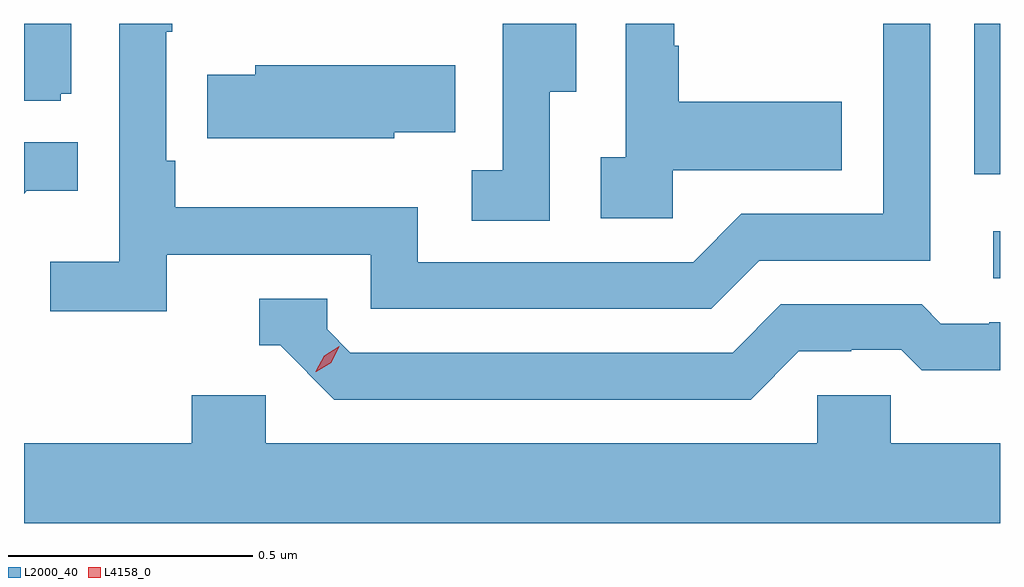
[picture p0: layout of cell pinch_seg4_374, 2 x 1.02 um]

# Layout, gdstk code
import gdstk
lib = gdstk.Library(unit=1e-6, precision=1e-09)
def R(c, l, rs):  # rectangles x0, y0, x1, y1
    for r in rs: c.add(gdstk.rectangle(r[:2], r[2:], *l))
def P(c, l, *ps):  # polygons
    for p in ps: c.add(gdstk.Polygon(p, *l))
L2000_40 = (2000, 40)
L4158_0 = (4158, 0)

pinch_seg4_374 = lib.new_cell('pinch_seg4_374')
R(pinch_seg4_374, L2000_40, [(972.141,799.986,972.155,800.082), (972.102,800.199,972.155,800.507)])
P(pinch_seg4_374, L2000_40, [(970.448,800.034),(970.866,800.034),(970.866,799.923),(971.563,799.923),(971.662,800.022),(972.012,800.022),(972.012,800.507),(971.916,800.507),(971.916,800.118),(971.625,800.118),(971.526,800.019),(970.962,800.019),(970.962,800.131),(970.465,800.131),(970.465,800.227),(970.446,800.227),(970.446,800.491),(970.459,800.491),(970.459,800.507),(970.35,800.507),(970.35,800.02),(970.209,800.02),(970.209,799.918),(970.448,799.918)],
  [(971.484,800.207),(971.831,800.207),(971.831,800.347),(971.497,800.347),(971.497,800.462),(971.487,800.462),(971.487,800.507),(971.388,800.507),(971.388,800.234),(971.337,800.234),(971.337,800.109),(971.484,800.109)],
  [(971.232,800.368),(971.287,800.368),(971.287,800.507),(971.136,800.507),(971.136,800.207),(971.073,800.207),(971.073,800.104),(971.232,800.104)],
  [(970.23,800.364),(970.252,800.364),(970.252,800.507),(970.155,800.507),(970.155,800.349),(970.23,800.349)],
  [(970.914,800.285),(971.039,800.285),(971.039,800.422),(970.629,800.422),(970.629,800.403),(970.531,800.403),(970.531,800.273),(970.914,800.273)],
  [(970.161,800.165),(970.265,800.165),(970.265,800.264),(970.155,800.264),(970.155,800.159)],
  [(971.743,799.836),(971.85,799.836),(971.85,799.839),(971.953,799.839),(971.995,799.797),(972.155,799.797),(972.155,799.896),(972.133,799.896),(972.133,799.893),(972.034,799.893),(971.995,799.932),(971.706,799.932),(971.607,799.833),(970.824,799.833),(970.776,799.881),(970.776,799.944),(970.637,799.944),(970.637,799.848),(970.68,799.848),(970.791,799.737),(971.644,799.737)],
  [(972.155,799.648),(971.931,799.648),(971.931,799.746),(971.781,799.746),(971.781,799.648),(970.65,799.648),(970.65,799.746),(970.499,799.746),(970.499,799.648),(970.155,799.648),(970.155,799.484),(972.155,799.484)])
P(pinch_seg4_374, L4158_0, [(970.753,799.794),(970.753,799.795),(970.77,799.827),(970.801,799.846),(970.801,799.846),(970.801,799.846),(970.785,799.813),(970.754,799.794)])

lib.write_gds('pinch_seg4_374.gds')
